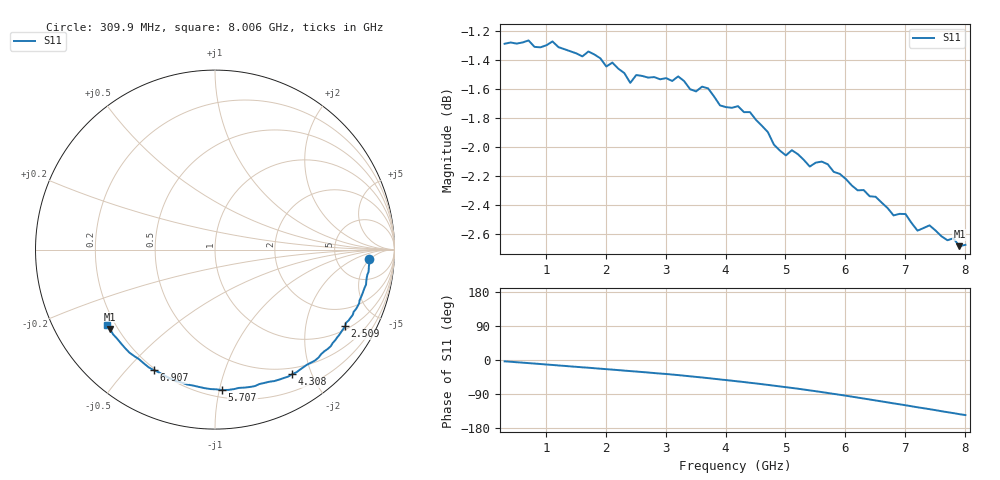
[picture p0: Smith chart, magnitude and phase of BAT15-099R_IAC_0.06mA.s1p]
! Infineon Technologies  Discrete & RF Semiconductors
! BAT15-099R
! IAC = 0.06 mA
! One-Port S-Parameters
# Hz  S  MA  R  50
!f  S11
!Hz  Mag  Ang
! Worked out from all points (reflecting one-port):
!   78 points, 309.9 MHz to 8.006 GHz, reference 50 ohm
!   lowest |S11| = -2.7 dB at 7.906 GHz (marker M1), VSWR 6.52, Z = 8.51 - j16.3 ohm
!   phase of S11 starts at -4 deg and turns -142 deg over the sweep
!   S11 on the Smith chart (normalised r, x): 309.9 MHz: 12, -5; 2.509 GHz: 1.14, -3.31; 4.308 GHz: 0.41, -1.72; 5.707 GHz: 0.25, -1.02; 6.907 GHz: 0.19, -0.60; 8.006 GHz: 0.17, -0.30
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3.0985e8  0.8623 -3.6
7.0965e8  0.8646 -8.2
1.10945e9  0.8639 -13.1
1.30935e9  0.8586 -15.6
1.70915e9  0.857 -20.4
2.009e9  0.8468 -24.2
2.10895e9  0.8495 -25.4
2.30885e9  0.8424 -28.0
2.4088e9  0.8359 -29.2
2.50875e9  0.8411 -30.4
3.2084e9  0.8401 -39.8
3.70815e9  0.8322 -47.8
3.90805e9  0.821 -51.3
4.2079e9  0.8205 -56.4
4.30785e9  0.8166 -58.2
4.6077e9  0.8077 -63.8
5.0075e9  0.7889 -71.7
5.2074e9  0.7897 -75.7
5.70715e9  0.7834 -87.1
6.10695e9  0.7703 -96.7
6.30685e9  0.7675 -101.6
6.50675e9  0.7634 -106.7
6.90655e9  0.7531 -116.9
7.10645e9  0.7476 -122.1
7.4063e9  0.7462 -129.7
7.8061e9  0.7386 -140.2
7.90605e9  0.7339 -142.9
8.006e9  0.7347 -145.3
